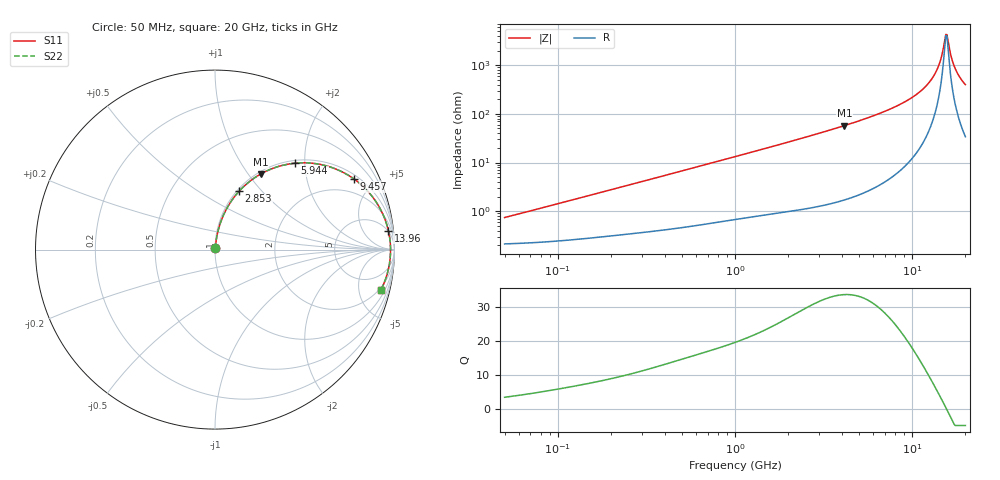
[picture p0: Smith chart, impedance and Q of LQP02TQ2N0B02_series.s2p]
!Murata Part Number: LQP02TQ2N0B02
!These Parameters are Measured in Series Mode Connection
!  o--[Z]--o
!Port1  Port2
!  o-------o
!Freq. Start=50[MHz] Stop=20[GHz], 401[Steps]
# Hz S RI R 50
!Freq.(Hz) S11(Real) S11(Imag) S21(Real) S21(Imag) S12(Real) S12(Imag) S22(Real) S22(Imag)
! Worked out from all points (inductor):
!   401 points, 50 MHz to 20 GHz, reference 50 ohm
!   read as one part in series: L = 2.25 nH near 51.52 MHz
!   highest Q = 33.7 at 4.149 GHz (marker M1), where L = 2.2 nH
!   self-resonance near 15.5 GHz
!   S11 on the Smith chart (normalised r, x): 50 MHz: 1.00, +0.01; 2.853 GHz: 1.02, +0.76; 5.944 GHz: 1.06, +1.78; 9.457 GHz: 1.19, +3.82; 13.96 GHz: 5, +17; 20 GHz: 1.68, -7.93
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5e7  0.00217 0.00707  0.9978 -0.00707  0.9978 -0.00707  0.00217 0.00707
1.364002e8  0.00304 0.0189  0.997 -0.0189  0.997 -0.0189  0.00304 0.0189
3.721004e8  0.00645 0.0496  0.9936 -0.0496  0.9936 -0.0496  0.00645 0.0496
1e9  0.0234 0.1278  0.9766 -0.1278  0.9766 -0.1278  0.0234 0.1278
2.728004e9  0.1239 0.3136  0.8761 -0.3136  0.8761 -0.3136  0.1239 0.3136
2.853386e9  0.134 0.325  0.866 -0.325  0.866 -0.325  0.134 0.325
4.149438e9  0.2536 0.4205  0.7464 -0.4205  0.7464 -0.4205  0.2536 0.4205
5.944466e9  0.4444 0.4812  0.5556 -0.4812  0.5556 -0.4812  0.4444 0.4812
7.442007e9  0.5998 0.4717  0.4002 -0.4717  0.4002 -0.4717  0.5998 0.4717
9.457416e9  0.7739 0.3939  0.2261 -0.3939  0.2261 -0.3939  0.7739 0.3939
1.201863e10  0.9155 0.2365  0.0845 -0.2365  0.0845 -0.2365  0.9155 0.2365
1.314879e10  0.9503 0.1602  0.0497 -0.1602  0.0497 -0.1602  0.9503 0.1602
1.396067e10  0.966 0.1057  0.034 -0.1057  0.034 -0.1057  0.966 0.1057
1.460232e10  0.9737 0.0636  0.0263 -0.0636  0.0263 -0.0636  0.9737 0.0636
1.527346e10  0.9776 0.0209  0.0224 -0.0209  0.0224 -0.0209  0.9776 0.0209
1.550395e10  0.9781 0.00656  0.0219 -0.00656  0.0219 -0.00656  0.9781 0.00656
1.573793e10  0.9781 -0.00777  0.0219 0.00777  0.0219 0.00777  0.9781 -0.00777
1.597544e10  0.9778 -0.0221  0.0222 0.0221  0.0222 0.0221  0.9778 -0.0221
1.696185e10  0.9721 -0.0791  0.0279 0.0791  0.0279 0.0791  0.9721 -0.0791
1.747767e10  0.9667 -0.1071  0.0333 0.1071  0.0333 0.1071  0.9667 -0.1071
1.855685e10  0.9513 -0.1618  0.0487 0.1618  0.0487 0.1618  0.9513 -0.1618
2e10  0.9235 -0.2264  0.0765 0.2264  0.0765 0.2264  0.9235 -0.2264
